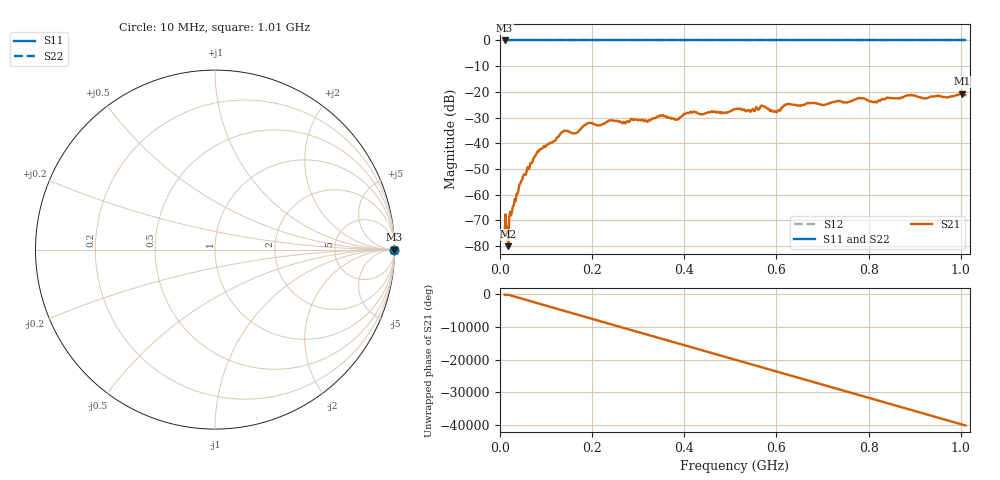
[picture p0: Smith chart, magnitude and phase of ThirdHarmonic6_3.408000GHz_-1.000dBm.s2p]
! 8/17/2025 10:54:18 AM
! C:\ANRITSUVNA\TEMP\TEMP.S2P
! CHANNEL.1
! TR.MEASUREMENT
! RAW.DATA
! RF.CORRECTION.OFF
! AVERAGING.OFF
! IF.BANDWIDTH: 5KHZ
! SWEEPTYPE:  FREQ.SWEEP(Linear)
! Reference Plane Port Info
! PORT:  PORT1  PORT2
! DISTANCE:  0  m  0  m
! TIME:  0  s  0  s
! PHASE.OFFSET:  0  deg.  0  deg.
! LOSS:  0  dB  0  dB
! REF.LOSS:  0  dB  0  dB
! REF.FREQ:  0  Hz  0  Hz
! Power Info
! POWER:  -20  dBm  -20  dBm
! EFF.POWER:  -20  dBm  -20  dBm
! SOURCE.ATTEN:  0  dB  0  dB
! TEST.ATTEN:  0  dB  0  dB
# GHZ S RI R 50.0
! FREQ.GHZ  S11RE  S11IM  S21RE  S21IM  S12RE  S12IM  S22RE  S22IM
!; PortSelection: Port_12
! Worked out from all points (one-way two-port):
!   501 points, 10 MHz to 1.01 GHz, reference 50 ohm
!   highest |S21| = -20.67 dB at 1.002 GHz (marker M1); lowest = -80.1 dB at 18 MHz (marker M2)
!   lowest |S11| = 0.0 dB at 10 MHz (marker M3)
!   |S11| at or under -10 dB: nowhere
!   |S22| runs from 0.0 to 0.0 dB; largest |S21 - S12| = 1.1
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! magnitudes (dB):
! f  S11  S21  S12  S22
! 10 MHz  0.0  -76.0  0.0  0.0
! 18 MHz  0.0  -80.1  0.0  0.0
! 24 MHz  0.0  -68.1  0.0  0.0
! 46 MHz  0.0  -54.7  0.0  0.0
! 82 MHz  0.0  -43.2  0.0  0.0
! 136 MHz  0.0  -35.7  0.0  0.0
! 162 MHz  0.0  -36.2  0.0  0.0
! 178 MHz  0.0  -33.8  0.0  0.0
! 194 MHz  0.0  -32.1  0.0  0.0
! 344 MHz  0.0  -29.6  0.0  0.0
! 384 MHz  0.0  -30.8  0.0  0.0
! 416 MHz  0.0  -28.1  0.0  0.0
! 510 MHz  0.0  -26.7  0.0  0.0
! 570 MHz  0.0  -25.6  0.0  0.0
! 598 MHz  0.0  -27.6  0.0  0.0
! 622 MHz  0.0  -24.9  0.0  0.0
! 678 MHz  0.0  -24.3  0.0  0.0
! 782 MHz  0.0  -22.5  0.0  0.0
! 814 MHz  0.0  -23.8  0.0  0.0
! 844 MHz  0.0  -22.4  0.0  0.0
! 1.002 GHz  0.0  -20.7  0.0  0.0
! 1.01 GHz  0.0  -21.3  0.0  0.0
